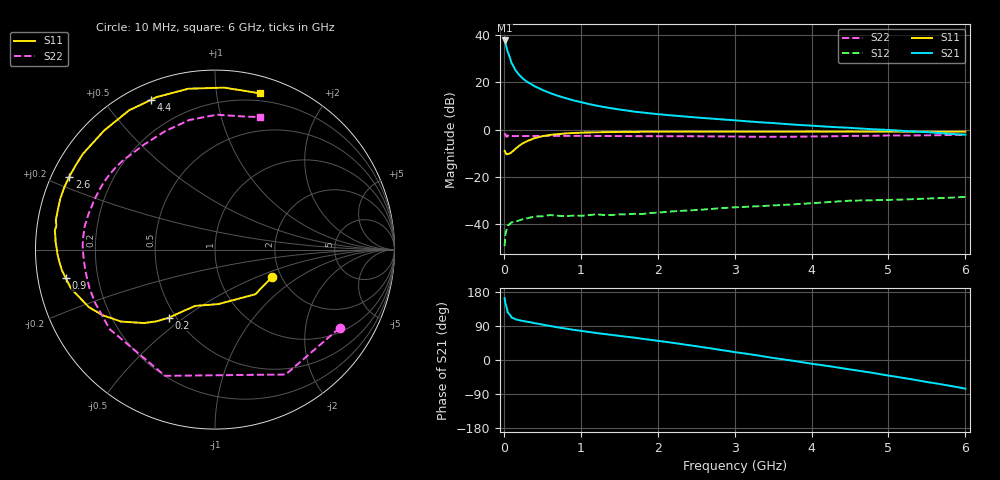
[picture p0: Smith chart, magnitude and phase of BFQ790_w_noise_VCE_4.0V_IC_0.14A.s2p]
! Infineon Technologies  Discrete & RF Semiconductors
! BFQ790
! VCE =  4.0 V,  IC = 0.14 A
! Common Emitter S-Parameters:  May 2015
# GHz  S  MA  R  50
!  f  S11  S21  S12  S22
! GHz  MAG  ANG  MAG  ANG  MAG  ANG  MAG  ANG
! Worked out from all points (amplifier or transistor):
!   77 points, 10 MHz to 6 GHz, reference 50 ohm
!   highest |S21| = 37.8 dB at 10 MHz (marker M1)
!   |S21| within 3 dB of that: start of sweep to 35.96 MHz
!   unconditionally stable (mu >= 1): 242.4 MHz to 364.5 MHz; 691.2 MHz to 730.5 MHz; 910.1 MHz to end of sweep
!   at 130 MHz: K = 0.77, MSG = 32.9 dB, |S12| = -39.2 dB
!   at 2.2 GHz: K = 1.25, MAG = 17.3 dB, |S12| = -34.6 dB
!   at 6 GHz: K = 1.17, MAG = 10.7 dB, |S12| = -28.5 dB
!   lowest NFmin = 2.89 dB at 1.5 GHz
!   S11 on the Smith chart (normalised r, x): 10 MHz: 1.79, -0.63; 200 MHz: 0.46, -0.44; 900 MHz: 0.08, -0.09; 2.6 GHz: 0.05, +0.24; 4.4 GHz: 0.07, +0.66; 6 GHz: 0.14, +1.32
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0.01  0.3524 -25.9  77.4 163.4  0.0034 61.9  0.8199 -32.2
0.02  0.3353 -47.9  69.28 149.0  0.006 53.4  0.7996 -60.5
0.05  0.3042 -86.5  44.34 125.1  0.0093 34.3  0.7563 -111.6
0.1  0.3319 -109.2  25.73 112.0  0.0108 20.2  0.7354 -143.0
0.15  0.3908 -117.9  18.23 107.5  0.0112 18.5  0.7306 -155.8
0.2  0.4571 -124.0  14.36 104.9  0.012 21.3  0.7317 -162.7
0.25  0.5167 -129.3  11.99 103.0  0.0126 18.9  0.7307 -167.3
0.3  0.5689 -134.0  10.35 101.1  0.0132 14.8  0.7315 -170.6
0.4  0.6598 -142.6  8.291 97.2  0.0144 14.1  0.7333 -175.5
0.5  0.7244 -149.6  6.926 93.5  0.0146 11.7  0.7354 -179.0
0.6  0.7727 -155.5  5.969 89.9  0.0155 11.1  0.7376 178.2
0.7  0.8012 -160.7  5.215 86.3  0.015 11.5  0.7376 175.8
0.9  0.8468 -169.1  4.185 79.8  0.0151 7.7  0.7367 172.1
1.1  0.8702 -175.6  3.505 74.2  0.0154 8.5  0.7363 168.7
1.5  0.8926 175.1  2.669 63.7  0.016 8.1  0.7305 163.1
2.1  0.9048 163.9  2.056 48.0  0.018 8.6  0.7252 154.5
2.6  0.9078 153.4  1.76 33.4  0.0203 6.2  0.7217 145.1
3.1  0.9058 141.9  1.528 18.1  0.023 -0.7  0.7104 134.0
4.1  0.9087 119.6  1.184 -12.6  0.0283 -13.6  0.7174 110.5
4.4  0.9076 113.1  1.11 -21.7  0.0305 -18.4  0.7297 103.5
5.1  0.9041 96.9  0.96 -44.2  0.0328 -31.9  0.7507 87.1
6  0.9058 74.1  0.782 -75.6  0.0376 -52.3  0.7793 71.3
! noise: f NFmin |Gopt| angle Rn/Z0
0.45  4.62  0.43  137  0.45
0.9  3.28  0.56  166  0.15
1.5  2.89  0.67  -174  0.09
1.8  2.97  0.69  -168  0.09
2.6  3.31  0.73  -152  0.22
3.5  3.87  0.83  -136  0.52
